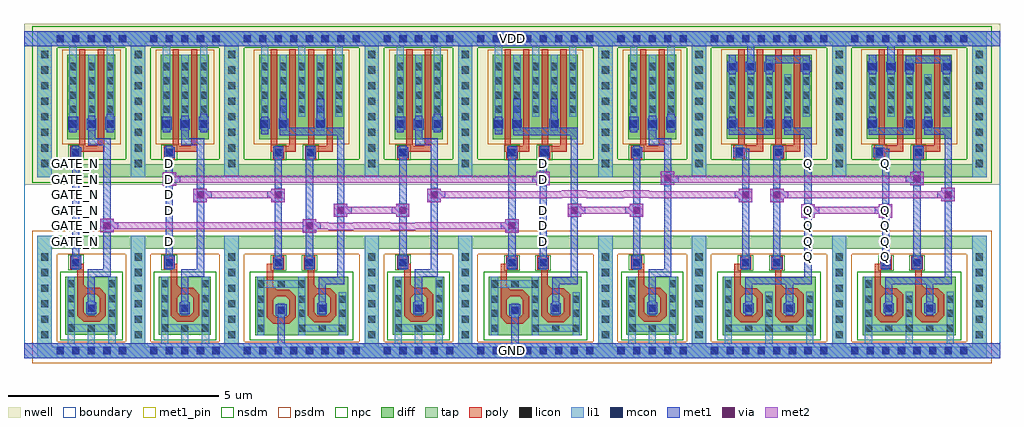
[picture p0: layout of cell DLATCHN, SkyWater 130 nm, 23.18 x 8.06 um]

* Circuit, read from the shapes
.subckt DLATCHN D GATE_N GND Q VDD
XM1 GND GATE_N n1 GND sky130_fd_pr__nfet_01v8 w=2.56 l=0.1478
XM2 GND D n2 GND sky130_fd_pr__nfet_01v8 w=2.56 l=0.1477
XM3 n3 n2 GND GND sky130_fd_pr__nfet_01v8 w=2.6 l=0.1471
XM4 n3 n1 n4 GND sky130_fd_pr__nfet_01v8 w=2.56 l=0.1472
XM5 GND n4 n5 GND sky130_fd_pr__nfet_01v8 w=2.56 l=0.1478
XM6 n6 n1 GND GND sky130_fd_pr__nfet_01v8 w=2.6 l=0.1471
XM7 n6 D n7 GND sky130_fd_pr__nfet_01v8 w=2.56 l=0.1471
XM8 GND n7 n8 GND sky130_fd_pr__nfet_01v8 w=2.56 l=0.1478
XM9 GND n5 Q GND sky130_fd_pr__nfet_01v8 w=2.56 l=0.1455
XM10 GND n9 Q GND sky130_fd_pr__nfet_01v8 w=2.56 l=0.147
XM11 GND Q n9 GND sky130_fd_pr__nfet_01v8 w=2.56 l=0.1455
XM12 GND n8 n9 GND sky130_fd_pr__nfet_01v8 w=2.56 l=0.1471
XM13 n1 GATE_N VDD VDD sky130_fd_pr__pfet_01v8 w=2 l=0.15 m=2
XM14 n2 D VDD VDD sky130_fd_pr__pfet_01v8 w=2 l=0.15 m=2
XM15 n4 n2 VDD VDD sky130_fd_pr__pfet_01v8 w=2 l=0.15 m=2
XM16 n4 n1 VDD VDD sky130_fd_pr__pfet_01v8 w=2 l=0.15 m=2
XM17 n5 n4 VDD VDD sky130_fd_pr__pfet_01v8 w=2 l=0.15 m=2
XM18 n7 n1 VDD VDD sky130_fd_pr__pfet_01v8 w=2 l=0.15 m=2
XM19 n7 D VDD VDD sky130_fd_pr__pfet_01v8 w=2 l=0.15 m=2
XM20 n8 n7 VDD VDD sky130_fd_pr__pfet_01v8 w=2 l=0.15 m=2
XM21 VDD n5 n10 VDD sky130_fd_pr__pfet_01v8 w=2 l=0.15 m=2
XM22 Q n9 n10 VDD sky130_fd_pr__pfet_01v8 w=2 l=0.15 m=2
XM23 VDD Q n11 VDD sky130_fd_pr__pfet_01v8 w=2 l=0.15 m=2
XM24 n9 n8 n11 VDD sky130_fd_pr__pfet_01v8 w=2 l=0.15 m=2
.ends

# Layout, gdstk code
from math import pi, radians
import gdstk
lib = gdstk.Library(unit=1e-6, precision=1e-09)
def R(c, l, rs):  # rectangles x0, y0, x1, y1
    for r in rs: c.add(gdstk.rectangle(r[:2], r[2:], *l))
def A(c, l, x, y, w, h, nx, ny, dx, dy):  # array of equal rectangles
    R(c, l, [(x+i*dx, y+j*dy, x+i*dx+w, y+j*dy+h) for i in range(nx) for j in range(ny)])
def P(c, l, *ps):  # polygons
    for p in ps: c.add(gdstk.Polygon(p, *l))
nwell = (64, 20)
diff = (65, 20)
tap = (65, 44)
poly = (66, 20)
licon = (66, 44)
li1 = (67, 20)
mcon = (67, 44)
met1_pin = (68, 16)
met1 = (68, 20)
via = (68, 44)
met2 = (69, 20)
nsdm = (93, 44)
psdm = (94, 20)
npc = (95, 20)
boundary = (235, 4)

diff_ring_side = lib.new_cell('diff_ring_side')
R(diff_ring_side, nwell, [(-0.435,3.93,0.435,7.75)])
R(diff_ring_side, tap, [(-0.17,-0.17,0.17,2.72), (-0.17,4.11,0.17,7.57)])
A(diff_ring_side, licon, -0.085, 0.285, 0.17, 0.17, 1, 6, 0, 0.37)
A(diff_ring_side, licon, -0.085, 4.355, 0.17, 0.17, 1, 8, 0, 0.37)
R(diff_ring_side, li1, [(-0.17,-0.17,0.17,2.72), (-0.17,4.11,0.17,7.57)])
R(diff_ring_side, met1, [(-0.17,-0.17,0.17,0.17), (-0.17,7.23,0.17,7.57)])
R(diff_ring_side, nsdm, [(-0.295,3.985,0.295,7.695)])
R(diff_ring_side, psdm, [(-0.295,-0.295,0.295,2.845)])

nmos_bottom = lib.new_cell('nmos_bottom')
R(nmos_bottom, diff, [(0,0,1.24,1.38)])
R(nmos_bottom, poly, [(0.43,0.27,0.81,0.42), (0.28,0.42,0.43,0.925), (0.81,0.42,0.96,0.925), (0.43,0.925,0.96,1.075), (0.81,1.075,0.96,1.51)])
P(nmos_bottom, poly, [(0.73,1.075),(0.81,1.075),(0.81,1.155)],
  [(0.28,0.925),(0.43,0.925),(0.43,1.075)],
  [(0.43,0.845),(0.43,0.925),(0.51,0.925)],
  [(0.73,0.925),(0.81,0.925),(0.81,0.845)],
  [(0.43,0.5),(0.43,0.42),(0.51,0.42)],
  [(0.73,0.42),(0.81,0.42),(0.81,0.5)],
  [(0.28,0.42),(0.43,0.42),(0.43,0.27)],
  [(0.81,0.27),(0.81,0.42),(0.96,0.42)])
A(nmos_bottom, licon, 0.05, 1.13, 0.17, 0.17, 3, 1, 0.485, 0)
R(nmos_bottom, licon, [(0.05,0.08,0.22,0.25), (1.02,0.08,1.19,0.25), (0.05,0.43,0.22,0.6), (1.02,0.43,1.19,0.6), (0.535,0.505,0.705,0.675), (0.05,0.77,0.22,0.94), (1.02,0.77,1.19,0.94)])
R(nmos_bottom, li1, [(0.05,0,0.22,1.13), (1.02,0,1.19,1.13), (0.535,0.425,0.705,0.755), (0.05,1.13,1.19,1.3), (0.05,1.3,0.22,1.38), (1.02,1.3,1.19,1.38)])
R(nmos_bottom, nsdm, [(-0.125,-0.125,1.365,1.505)])

pmos2 = lib.new_cell('pmos2')
R(pmos2, nwell, [(0.26,-2.18,1.76,0.18)])
R(pmos2, diff, [(0.44,-2,1.58,0)])
R(pmos2, poly, [(0.72,-2.305,1.31,-2.155), (0.72,-2.155,0.87,0.13), (1.16,-2.155,1.31,0.13)])
A(pmos2, licon, 0.49, -1.38, 0.17, 0.17, 3, 4, 0.44, 0.34)
R(pmos2, li1, [(0.49,-1.465,0.66,0.21), (0.93,-1.465,1.1,0), (1.37,-1.465,1.54,0.21)])
R(pmos2, psdm, [(0.315,-2.125,1.705,0.125)])

poly_li1_contact = lib.new_cell('poly_li1_contact')
R(poly_li1_contact, poly, [(-0.16,-0.14,0.17,0.13)])
R(poly_li1_contact, licon, [(-0.08,-0.09,0.09,0.08)])
R(poly_li1_contact, li1, [(-0.16,-0.09,0.17,0.08)])
R(poly_li1_contact, npc, [(-0.18,-0.19,0.19,0.18)])

nmos_top_trim1 = lib.new_cell('nmos_top_trim1')
R(nmos_top_trim1, diff, [(0,0,1.24,1.38)])
R(nmos_top_trim1, poly, [(0.43,0.31,0.81,0.46), (0.28,0.46,0.43,0.965), (0.81,0.46,0.96,0.965), (0.43,0.965,0.96,1.115), (0.81,1.115,0.96,1.545)])
P(nmos_top_trim1, poly, [(0.73,1.115),(0.81,1.115),(0.81,1.195)],
  [(0.28,0.965),(0.43,0.965),(0.43,1.115)],
  [(0.43,0.885),(0.43,0.965),(0.51,0.965)],
  [(0.73,0.965),(0.81,0.965),(0.81,0.885)],
  [(0.43,0.54),(0.43,0.46),(0.51,0.46)],
  [(0.73,0.46),(0.81,0.46),(0.81,0.54)],
  [(0.28,0.46),(0.43,0.46),(0.43,0.31)],
  [(0.81,0.31),(0.81,0.46),(0.96,0.46)])
A(nmos_top_trim1, licon, 0.05, 0.08, 0.17, 0.17, 3, 1, 0.485, 0)
R(nmos_top_trim1, licon, [(0.05,0.43,0.22,0.6), (1.02,0.43,1.19,0.6), (0.535,0.55,0.705,0.72), (0.05,0.77,0.22,0.94), (1.02,0.77,1.19,0.94), (1.02,1.13,1.19,1.3)])
R(nmos_top_trim1, li1, [(0.05,0,0.22,0.08), (1.02,0,1.19,0.08), (0.05,0.08,1.19,0.25), (0.05,0.25,0.22,1.02), (1.02,0.25,1.19,1.38), (0.535,0.47,0.705,0.805)])
R(nmos_top_trim1, nsdm, [(-0.125,-0.125,1.365,1.505)])

nand2x1_pcell = lib.new_cell('nand2x1_pcell')
R(nand2x1_pcell, nwell, [(0.435,3.93,2.895,7.75)])
R(nand2x1_pcell, diff, [(1.115,5.265,1.345,5.5), (1.995,5.265,2.225,5.5), (0.705,5.295,0.875,5.465)])
R(nand2x1_pcell, tap, [(0.17,-0.17,3.16,-0.15), (0.155,-0.15,3.175,0.085), (0.155,2.4,0.17,2.41), (3.16,2.4,3.175,2.41), (0.155,2.41,3.175,2.71), (0.17,2.71,3.16,2.72), (0.17,4.11,3.16,4.42), (0.17,7.315,3.16,7.57)])
R(nand2x1_pcell, poly, [(0.84,1.875,0.99,2.065), (1.81,1.91,1.96,1.915)])
A(nand2x1_pcell, licon, 0.285, -0.085, 0.17, 0.17, 8, 2, 0.37, 7.4)
R(nand2x1_pcell, licon, [(0.705,5.295,0.875,5.465), (1.145,5.295,1.315,5.465), (2.025,5.295,2.195,5.465)])
R(nand2x1_pcell, li1, [(0.165,-0.17,3.295,0.17), (1.095,0.87,1.265,1.04), (2.065,0.915,2.235,1.085), (1.025,1.995,1.195,2.165), (1.765,1.995,1.935,2.165), (1.025,4.615,1.195,4.785), (1.795,4.615,1.965,4.785), (0.705,5.215,0.875,5.61), (1.145,5.215,1.315,5.61), (2.025,5.215,2.195,5.61), (-0.17,7.23,3.17,7.57)])
A(nand2x1_pcell, mcon, 0.285, -0.085, 0.17, 0.17, 8, 2, 0.37, 7.4)
R(nand2x1_pcell, mcon, [(1.095,0.87,1.265,1.04), (2.065,0.915,2.235,1.085), (1.025,1.995,1.195,2.165), (1.765,1.995,1.935,2.165), (1.025,4.615,1.195,4.785), (1.795,4.615,1.965,4.785), (0.705,5.295,0.875,5.465), (1.145,5.295,1.315,5.465), (2.025,5.295,2.195,5.465)])
R(nand2x1_pcell, met1, [(-0.17,-0.17,3.5,0.17), (1.095,0.17,1.265,0.825), (1.045,0.825,1.31,1.1), (2.035,0.855,2.265,1.12), (2.065,1.12,2.235,1.57), (2.065,1.57,2.675,1.74), (2.505,1.74,2.675,5.115), (0.99,1.935,1.23,2.205), (1.735,1.935,1.97,2.205), (1.025,2.205,1.195,4.56), (1.765,2.205,1.935,4.555), (1.765,4.555,1.97,4.58), (0.995,4.56,1.23,4.845), (1.765,4.58,1.995,4.845), (1.145,5.115,2.675,5.265), (0.705,5.135,0.875,5.265), (0.675,5.265,0.905,5.5), (1.115,5.265,2.675,5.285), (1.115,5.285,1.345,5.5), (1.995,5.285,2.225,5.5), (0.705,5.5,0.875,5.555), (1.145,5.5,1.315,5.98), (2.025,5.5,2.195,5.98), (-0.17,7.23,3.5,7.57)])
R(nand2x1_pcell, nsdm, [(0.045,3.985,3.285,4.545), (0.045,7.19,3.285,7.695)])
R(nand2x1_pcell, psdm, [(0.045,-0.295,3.285,-0.275), (0.03,-0.275,3.3,0.21), (0.03,2.275,0.295,2.285), (3.035,2.275,3.3,2.285), (0.03,2.285,3.3,2.835), (0.045,2.835,3.285,2.845), (0.99,5.14,1.47,5.17), (1.87,5.14,2.35,5.625), (0.58,5.17,1.47,5.59), (0.99,5.59,1.47,5.625)])
nand2x1_pcell.add(gdstk.Reference(diff_ring_side, (0,0)))
nand2x1_pcell.add(gdstk.Reference(nmos_bottom, (1.8,0.365), rotation=pi, x_reflection=True))
nand2x1_pcell.add(gdstk.Reference(pmos2, (0.215,7.02)))
nand2x1_pcell.add(gdstk.Reference(poly_li1_contact, (1.115,4.705), rotation=3*pi/2))
nand2x1_pcell.add(gdstk.Reference(poly_li1_contact, (1.115,2.085), rotation=3*pi/2))
nand2x1_pcell.add(gdstk.Reference(nmos_top_trim1, (2.77,0.365), rotation=pi, x_reflection=True))
nand2x1_pcell.add(gdstk.Reference(pmos2, (1.095,7.02)))
nand2x1_pcell.add(gdstk.Reference(poly_li1_contact, (1.845,2.075), rotation=pi/2))
nand2x1_pcell.add(gdstk.Reference(poly_li1_contact, (1.885,4.705), rotation=3*pi/2))
nand2x1_pcell.add(gdstk.Reference(diff_ring_side, (3.33,0)))

li1_m1_contact = lib.new_cell('li1_M1_contact')
R(li1_m1_contact, li1, [(-0.085,-0.165,0.085,0.165)])
R(li1_m1_contact, mcon, [(-0.085,-0.085,0.085,0.085)])
R(li1_m1_contact, met1, [(-0.115,-0.115,0.115,-0.085), (-0.265,-0.085,0.145,0.085), (-0.115,0.085,0.115,0.115)])

nmos_top = lib.new_cell('nmos_top')
R(nmos_top, diff, [(0,0,1.23,1.38)])
R(nmos_top, poly, [(0.42,0.31,0.8,0.46), (0.27,0.46,0.42,0.965), (0.8,0.46,0.95,0.965), (0.42,0.965,0.95,1.115), (0.8,1.115,0.95,1.54)])
P(nmos_top, poly, [(0.72,1.115),(0.8,1.115),(0.8,1.195)],
  [(0.27,0.965),(0.42,0.965),(0.42,1.115)],
  [(0.42,0.885),(0.42,0.965),(0.5,0.965)],
  [(0.72,0.965),(0.8,0.965),(0.8,0.885)],
  [(0.42,0.54),(0.42,0.46),(0.5,0.46)],
  [(0.72,0.46),(0.8,0.46),(0.8,0.54)],
  [(0.27,0.46),(0.42,0.46),(0.42,0.31)],
  [(0.8,0.31),(0.8,0.46),(0.95,0.46)])
R(nmos_top, licon, [(0.04,0.08,0.21,0.25), (0.53,0.08,0.7,0.25), (1.01,0.08,1.18,0.25), (0.04,0.43,0.21,0.6), (1.01,0.43,1.18,0.6), (0.53,0.55,0.7,0.72), (0.04,0.77,0.21,0.94), (1.01,0.77,1.18,0.94), (0.04,1.13,0.21,1.3), (1.01,1.13,1.18,1.3)])
R(nmos_top, li1, [(0.04,0,0.21,0.08), (1.01,0,1.18,0.08), (0.04,0.08,1.18,0.25), (0.04,0.25,0.21,1.38), (1.01,0.25,1.18,1.38), (0.53,0.47,0.7,0.805)])
R(nmos_top, nsdm, [(-0.125,-0.125,1.355,1.505)])

invx1_pcell = lib.new_cell('invx1_pcell')
R(invx1_pcell, nwell, [(-0.435,3.93,2.655,7.75)])
A(invx1_pcell, diff, 0.59, 5.295, 0.17, 0.17, 3, 1, 0.44, 0)
R(invx1_pcell, tap, [(0.17,-0.17,2.05,0.085), (0.17,2.41,2.05,2.72), (0.17,4.11,2.05,4.42), (0.17,7.315,2.05,7.57)])
R(invx1_pcell, poly, [(0.775,1.905,0.925,2.065)])
A(invx1_pcell, licon, 0.285, -0.085, 0.17, 0.17, 5, 2, 0.37, 7.4)
A(invx1_pcell, licon, 0.59, 5.295, 0.17, 0.17, 3, 1, 0.44, 0)
A(invx1_pcell, li1, 0.59, 5.215, 0.17, 0.37, 3, 1, 0.44, 0)
R(invx1_pcell, li1, [(-0.17,-0.17,2.33,0.17), (0.545,0.17,0.715,0.42), (1.025,0.17,1.195,0.45), (1.515,0.17,1.685,0.45), (1.025,0.92,1.195,1.09), (0.655,2,0.825,2.17), (0.655,4.615,0.825,4.785), (-0.17,7.23,2.39,7.57)])
A(invx1_pcell, mcon, 0.285, -0.085, 0.17, 0.17, 5, 2, 0.37, 7.4)
A(invx1_pcell, mcon, 0.59, 5.295, 0.17, 0.17, 3, 1, 0.44, 0)
R(invx1_pcell, mcon, [(1.025,0.92,1.195,1.09), (0.655,2,0.825,2.17), (0.655,4.615,0.825,4.785)])
R(invx1_pcell, met1, [(-0.17,-0.17,2.39,0.17), (0.99,0.86,1.23,1.15), (1.025,1.15,1.195,1.755), (1.025,1.755,1.565,1.925), (1.395,1.925,1.565,4.875), (0.615,1.94,0.865,2.25), (0.655,2.25,0.825,4.58), (0.62,4.58,0.87,4.83), (0.655,4.83,0.825,4.865), (1.03,4.875,1.565,5.045), (1.03,5.045,1.2,5.24), (0.59,5.185,0.76,5.24), (1.47,5.185,1.64,5.24), (0.56,5.24,0.795,5.555), (1,5.24,1.23,5.505), (1.44,5.24,1.675,5.555), (1.03,5.505,1.2,5.575), (1.47,5.555,1.64,5.62), (-0.17,7.23,2.39,7.57)])
R(invx1_pcell, nsdm, [(0.045,3.985,2.175,4.545), (0.045,7.19,2.175,7.695)])
R(invx1_pcell, psdm, [(0.045,-0.295,2.175,0.21), (0.045,2.285,2.175,2.845), (0.465,5.17,1.765,5.59)])
invx1_pcell.add(gdstk.Reference(poly_li1_contact, (0.735,2.08), rotation=pi/2))
invx1_pcell.add(gdstk.Reference(poly_li1_contact, (0.745,4.705), rotation=3*pi/2))
invx1_pcell.add(gdstk.Reference(pmos2, (0.1,7.02)))
invx1_pcell.add(gdstk.Reference(nmos_top, (1.725,0.37), rotation=pi, x_reflection=True))
invx1_pcell.add(gdstk.Reference(diff_ring_side, (0,0)))
invx1_pcell.add(gdstk.Reference(diff_ring_side, (2.22,0)))

and2x1_pcell = lib.new_cell('and2x1_pcell')
R(and2x1_pcell, met1, [(2.43,3.17,2.75,3.49), (3.905,3.17,4.225,3.49)])
R(and2x1_pcell, via, [(2.515,3.255,2.665,3.405), (3.99,3.255,4.14,3.405)])
R(and2x1_pcell, met2, [(2.43,3.17,2.75,3.245), (3.905,3.17,4.225,3.245), (2.43,3.245,4.225,3.415), (2.43,3.415,2.75,3.49), (3.905,3.415,4.225,3.49)])
and2x1_pcell.add(gdstk.Reference(nand2x1_pcell, (0,0)))
and2x1_pcell.add(gdstk.Reference(li1_m1_contact, (4.07,3.33)))
and2x1_pcell.add(gdstk.Reference(li1_m1_contact, (2.59,3.33), rotation=pi))
and2x1_pcell.add(gdstk.Reference(invx1_pcell, (3.33,0)))

pmos2_1 = lib.new_cell('pmos2_1')
R(pmos2_1, nwell, [(0.26,-2.175,1.76,0.185)])
R(pmos2_1, diff, [(0.44,-1.995,1.58,0.005)])
R(pmos2_1, poly, [(0.72,-2.3,1.31,-2.15), (0.72,-2.15,0.87,0.135), (1.16,-2.15,1.31,0.135)])
A(pmos2_1, licon, 0.49, -1.385, 0.17, 0.17, 3, 3, 0.44, 0.34)
A(pmos2_1, li1, 0.49, -1.465, 0.17, 1.01, 3, 1, 0.44, 0)
R(pmos2_1, psdm, [(0.315,-2.12,1.705,0.13)])

nmos_top_trim2 = lib.new_cell('nmos_top_trim2')
R(nmos_top_trim2, diff, [(0,0,1.24,1.38)])
R(nmos_top_trim2, poly, [(0.43,0.31,0.81,0.46), (0.28,0.46,0.43,0.89), (0.81,0.46,0.96,0.89), (0.28,0.89,0.435,0.965), (0.805,0.89,0.96,0.965), (0.43,0.965,0.96,1.115), (0.81,1.115,0.96,1.545)])
P(nmos_top_trim2, poly, [(0.73,1.115),(0.81,1.115),(0.81,1.195)],
  [(0.28,0.965),(0.43,0.965),(0.43,1.115)],
  [(0.435,0.89),(0.435,0.965),(0.51,0.965)],
  [(0.73,0.965),(0.805,0.965),(0.805,0.89)],
  [(0.43,0.54),(0.43,0.46),(0.51,0.46)],
  [(0.73,0.46),(0.81,0.46),(0.81,0.54)],
  [(0.28,0.46),(0.43,0.46),(0.43,0.31)],
  [(0.81,0.31),(0.81,0.46),(0.96,0.46)])
A(nmos_top_trim2, licon, 0.05, 0.08, 0.17, 0.17, 3, 1, 0.485, 0)
R(nmos_top_trim2, licon, [(0.05,0.43,0.22,0.6), (1.02,0.43,1.19,0.6), (0.535,0.55,0.705,0.72), (0.05,0.77,0.22,0.94), (1.02,0.77,1.19,0.94)])
R(nmos_top_trim2, li1, [(0.05,0,0.22,0.08), (1.02,0,1.19,0.08), (0.05,0.08,1.19,0.25), (0.05,0.25,0.22,1.025), (1.02,0.25,1.19,1.025), (0.535,0.47,0.705,0.805)])
R(nmos_top_trim2, nsdm, [(-0.125,-0.125,1.365,1.505)])

nor2x1_pcell = lib.new_cell('nor2x1_pcell')
R(nor2x1_pcell, nwell, [(0.435,3.93,2.895,7.75)])
A(nor2x1_pcell, diff, 0.705, 6.655, 0.17, 0.17, 3, 1, 0.44, 0)
R(nor2x1_pcell, diff, [(0.705,5.215,0.875,5.465), (1.585,5.215,1.755,5.25), (2.025,5.215,2.195,5.25), (1.585,5.295,1.755,5.465), (2.025,5.295,2.195,5.465), (2.465,6.655,2.635,6.825)])
R(nor2x1_pcell, tap, [(0.17,-0.17,3.16,0.085), (0.17,2.41,3.16,2.72), (0.17,4.11,3.16,4.42), (0.17,7.315,3.16,7.57)])
R(nor2x1_pcell, poly, [(0.84,1.875,0.99,2.065), (1.81,1.91,1.96,1.915)])
A(nor2x1_pcell, licon, 0.285, -0.085, 0.17, 0.17, 8, 2, 0.37, 7.4)
A(nor2x1_pcell, licon, 0.705, 6.655, 0.17, 0.17, 3, 1, 0.44, 0)
R(nor2x1_pcell, licon, [(0.705,5.295,0.875,5.465), (1.585,5.295,1.755,5.465), (2.025,5.295,2.195,5.465), (2.465,6.655,2.635,6.825)])
R(nor2x1_pcell, li1, [(0.165,-0.17,3.285,0.17), (0.61,0.17,0.78,0.785), (1.58,0.17,1.75,0.445), (2.55,0.17,2.72,0.445), (1.095,0.915,1.265,1.085), (2.065,0.915,2.235,1.085), (1.025,1.995,1.195,2.165), (1.765,1.995,1.935,2.165), (0.87,4.62,1.04,4.79), (1.8,4.62,1.97,4.79), (0.705,5.215,0.875,5.975), (1.585,5.215,1.755,5.975), (2.025,5.215,2.195,5.975), (1.145,6.145,1.315,7.025), (1.585,6.145,1.755,6.905), (2.465,6.145,2.635,6.905), (0.705,6.56,0.875,7.025), (-0.17,7.23,3.335,7.57)])
A(nor2x1_pcell, mcon, 0.285, -0.085, 0.17, 0.17, 8, 2, 0.37, 7.4)
A(nor2x1_pcell, mcon, 0.705, 6.655, 0.17, 0.17, 3, 1, 0.44, 0)
R(nor2x1_pcell, mcon, [(1.095,0.915,1.265,1.085), (2.065,0.915,2.235,1.085), (1.025,1.995,1.195,2.165), (1.765,1.995,1.935,2.165), (0.87,4.62,1.04,4.79), (1.8,4.62,1.97,4.79), (0.705,5.295,0.875,5.465), (1.585,5.295,1.755,5.465), (2.025,5.295,2.195,5.465), (2.465,6.655,2.635,6.825)])
R(nor2x1_pcell, met1, [(0.17,-0.17,3.16,0.17), (1.095,0.835,1.265,0.885), (2.065,0.835,2.235,0.88), (2.015,0.88,2.28,1.12), (1.055,0.885,1.3,1.125), (2.065,1.12,2.235,1.57), (1.095,1.125,1.265,1.57), (1.095,1.57,2.675,1.74), (2.505,1.74,2.675,5.125), (0.985,1.935,1.23,2.215), (1.72,1.935,1.975,2.215), (1.025,2.215,1.195,4.585), (1.765,2.215,1.935,4.56), (1.765,4.56,2.005,4.855), (0.81,4.585,1.195,4.79), (0.81,4.79,1.085,4.82), (0.705,5.125,1.755,5.265), (2.025,5.125,2.675,5.26), (1.985,5.26,2.675,5.295), (0.675,5.265,1.79,5.295), (0.675,5.295,0.905,5.5), (1.55,5.295,1.79,5.495), (1.985,5.295,2.225,5.495), (1.585,5.495,1.755,5.555), (2.025,5.495,2.195,5.555), (0.705,5.5,0.875,5.555), (0.705,6.565,0.875,6.625), (1.145,6.565,1.315,6.625), (1.585,6.565,1.755,6.615), (2.465,6.565,2.635,6.62), (1.555,6.615,1.785,6.825), (2.42,6.62,2.665,6.825), (0.675,6.625,0.905,6.86), (1.115,6.625,1.345,6.855), (1.555,6.825,2.665,6.855), (1.145,6.855,1.315,7.23), (1.585,6.855,2.665,6.875), (0.705,6.86,0.875,7.025), (1.585,6.875,2.635,6.995), (0.17,7.23,3.16,7.57)])
R(nor2x1_pcell, nsdm, [(0.045,3.985,3.285,4.545), (0.045,7.19,3.285,7.695)])
R(nor2x1_pcell, psdm, [(0.045,-0.295,3.285,0.21), (0.045,2.285,3.285,2.845), (0.58,5.09,1,5.59), (1.46,5.09,2.32,5.59), (0.58,6.53,1.88,6.95), (2.34,6.53,2.76,6.95)])
nor2x1_pcell.add(gdstk.Reference(diff_ring_side, (0,0)))
nor2x1_pcell.add(gdstk.Reference(nmos_top_trim1, (1.8,0.365), rotation=pi, x_reflection=True))
nor2x1_pcell.add(gdstk.Reference(pmos2_1, (0.215,7.02)))
nor2x1_pcell.add(gdstk.Reference(poly_li1_contact, (0.96,4.71), rotation=3*pi/2))
nor2x1_pcell.add(gdstk.Reference(poly_li1_contact, (1.115,2.085), rotation=3*pi/2))
nor2x1_pcell.add(gdstk.Reference(nmos_top_trim2, (2.77,0.365), rotation=pi, x_reflection=True))
nor2x1_pcell.add(gdstk.Reference(pmos2_1, (1.095,7.02)))
nor2x1_pcell.add(gdstk.Reference(poly_li1_contact, (1.845,2.075), rotation=pi/2))
nor2x1_pcell.add(gdstk.Reference(poly_li1_contact, (1.89,4.71), rotation=3*pi/2))
nor2x1_pcell.add(gdstk.Reference(diff_ring_side, (3.33,0)))

dlatchn = lib.new_cell('DLATCHN')
R(dlatchn, nwell, [(0,4.11,23.18,7.94)])
R(dlatchn, tap, [(0.32,0,22.86,0.05), (0.32,7.75,22.86,7.76)])
R(dlatchn, li1, [(0,0,23.18,0.35), (0,7.41,23.18,7.76)])
A(dlatchn, met1_pin, 18.535, 2.315, 0.17, 0.17, 1, 4, 0, 0.37)
A(dlatchn, met1_pin, 20.385, 2.315, 0.17, 0.17, 1, 4, 0, 0.37)
A(dlatchn, met1_pin, 1.145, 2.685, 0.17, 0.17, 1, 6, 0, 0.37)
A(dlatchn, met1_pin, 12.245, 2.685, 0.17, 0.17, 1, 3, 0, 0.37)
A(dlatchn, met1_pin, 3.365, 3.425, 0.17, 0.17, 1, 4, 0, 0.37)
R(dlatchn, met1_pin, [(0,0,23.18,0.35), (3.365,2.685,3.535,2.855), (12.245,4.165,12.415,4.335), (12.245,4.535,12.415,4.705), (18.535,4.535,18.705,4.705), (20.385,4.535,20.555,4.705), (0,7.41,23.18,7.76)])
A(dlatchn, met1, 18.535, 2.315, 0.17, 0.17, 1, 3, 0, 0.37)
A(dlatchn, met1, 20.385, 2.315, 0.17, 0.17, 1, 3, 0, 0.37)
A(dlatchn, met1, 1.145, 2.685, 0.17, 0.17, 1, 6, 0, 0.37)
A(dlatchn, met1, 12.245, 2.685, 0.17, 0.17, 1, 3, 0, 0.37)
R(dlatchn, met1, [(0,0,23.18,0.35), (3.365,2.685,3.535,2.855), (6.62,2.975,6.94,3.295), (11.425,2.98,11.745,3.3), (1.81,2.985,2.13,3.305), (18.455,3.335,18.775,3.655), (20.305,3.335,20.625,3.655), (3.365,3.425,3.535,3.595), (4.025,3.705,4.345,4.025), (5.875,3.705,6.195,4.025), (9.58,3.705,9.9,4.025), (16.975,3.705,17.295,4.025), (17.72,3.705,18.04,4.025), (21.785,3.72,22.105,4.04), (3.365,3.795,3.535,3.965), (3.29,4.09,3.61,4.41), (12.165,4.105,12.485,4.425), (21.045,4.105,21.365,4.425), (15.125,4.12,15.445,4.44), (3.365,4.535,3.535,4.705), (12.245,4.535,12.415,4.705), (18.535,4.535,18.705,4.705), (20.385,4.535,20.555,4.705), (0,7.41,23.18,7.76)])
R(dlatchn, via, [(6.705,3.06,6.855,3.21), (11.51,3.065,11.66,3.215), (1.895,3.07,2.045,3.22), (18.54,3.42,18.69,3.57), (20.39,3.42,20.54,3.57), (4.11,3.79,4.26,3.94), (5.96,3.79,6.11,3.94), (9.665,3.79,9.815,3.94), (17.06,3.79,17.21,3.94), (17.805,3.79,17.955,3.94), (21.87,3.805,22.02,3.955), (3.375,4.175,3.525,4.325), (12.25,4.19,12.4,4.34), (21.13,4.19,21.28,4.34), (15.21,4.205,15.36,4.355)])
R(dlatchn, met2, [(6.62,2.975,6.94,3.055), (11.425,2.98,11.745,3.055), (1.81,2.985,2.13,3.055), (7.22,3.04,7.82,3.055), (8.695,3.04,9.295,3.055), (1.81,3.055,11.745,3.21), (1.81,3.21,7.22,3.225), (7.82,3.21,8.695,3.225), (9.295,3.21,11.745,3.225), (1.81,3.225,2.13,3.305), (6.62,3.225,6.94,3.295), (11.425,3.225,11.745,3.3), (18.455,3.335,18.775,3.425), (20.305,3.335,20.625,3.425), (18.455,3.425,20.625,3.595), (18.455,3.595,18.775,3.655), (20.305,3.595,20.625,3.655), (4.025,3.705,4.345,3.795), (5.875,3.705,6.195,3.795), (9.58,3.705,9.9,3.795), (16.975,3.705,17.295,3.795), (17.72,3.705,18.04,3.795), (21.785,3.72,22.105,3.795), (4.025,3.795,6.195,3.965), (9.58,3.795,12.77,3.81), (13.37,3.795,14.245,3.81), (14.845,3.795,17.295,3.81), (17.72,3.795,22.105,3.965), (9.58,3.81,17.295,3.965), (4.025,3.965,4.345,4.025), (5.875,3.965,6.195,4.025), (9.58,3.965,9.9,4.025), (12.77,3.965,13.37,3.98), (14.245,3.965,14.845,3.98), (16.975,3.965,17.295,4.025), (17.72,3.965,18.04,4.025), (21.785,3.965,22.105,4.04), (3.29,4.09,3.61,4.165), (12.165,4.105,12.485,4.165), (21.045,4.105,21.365,4.165), (15.125,4.12,15.445,4.165), (3.29,4.165,12.485,4.335), (15.125,4.165,21.365,4.335), (3.29,4.335,3.61,4.41), (12.165,4.335,12.485,4.425), (15.125,4.335,15.445,4.44), (21.045,4.335,21.365,4.425)])
R(dlatchn, nsdm, [(0.195,7.625,22.985,7.885)])
R(dlatchn, psdm, [(0.195,-0.125,22.985,0.175)])
R(dlatchn, boundary, [(0,0,23.18,7.76)])
dlatchn.add(gdstk.Reference(and2x1_pcell, (4.93,0.18)))
dlatchn.add(gdstk.Reference(invx1_pcell, (2.71,0.18)))
dlatchn.add(gdstk.Reference(invx1_pcell, (0.49,0.18)))
dlatchn.add(gdstk.Reference(li1_m1_contact, (3.45,4.25), rotation=pi))
dlatchn.add(gdstk.Reference(li1_m1_contact, (4.19,3.88), rotation=pi))
dlatchn.add(gdstk.Reference(li1_m1_contact, (6.04,3.88)))
dlatchn.add(gdstk.Reference(li1_m1_contact, (1.97,3.14), rotation=pi))
dlatchn.add(gdstk.Reference(and2x1_pcell, (10.48,0.18)))
dlatchn.add(gdstk.Reference(li1_m1_contact, (6.78,3.14), rotation=pi))
dlatchn.add(gdstk.Reference(li1_m1_contact, (11.59,3.14)))
dlatchn.add(gdstk.Reference(li1_m1_contact, (12.33,4.25)))
dlatchn.add(gdstk.Reference(li1_m1_contact, (9.74,3.88), rotation=pi))
dlatchn.add(gdstk.Reference(li1_m1_contact, (17.14,3.88)))
dlatchn.add(gdstk.Reference(li1_m1_contact, (15.29,4.25), rotation=pi))
dlatchn.add(gdstk.Reference(li1_m1_contact, (17.88,3.88), rotation=pi))
dlatchn.add(gdstk.Reference(li1_m1_contact, (18.62,3.51), rotation=pi))
dlatchn.add(gdstk.Reference(nor2x1_pcell, (16.03,0.18)))
dlatchn.add(gdstk.Reference(nor2x1_pcell, (19.36,0.18)))
dlatchn.add(gdstk.Reference(li1_m1_contact, (21.21,4.25)))
dlatchn.add(gdstk.Reference(li1_m1_contact, (21.95,3.88)))
dlatchn.add(gdstk.Reference(li1_m1_contact, (20.47,3.51)))
dlatchn.add(gdstk.Label('Q', (20.47,4.62), layer=68, texttype=5))
dlatchn.add(gdstk.Label('Q', (20.47,3.51), layer=68, texttype=5))
dlatchn.add(gdstk.Label('Q', (20.47,3.14), layer=68, texttype=5))
dlatchn.add(gdstk.Label('Q', (20.47,2.77), layer=68, texttype=5))
dlatchn.add(gdstk.Label('Q', (20.47,2.4), layer=68, texttype=5))
dlatchn.add(gdstk.Label('Q', (18.62,4.62), layer=68, texttype=5))
dlatchn.add(gdstk.Label('Q', (18.62,2.4), layer=68, texttype=5))
dlatchn.add(gdstk.Label('Q', (18.62,2.77), layer=68, texttype=5))
dlatchn.add(gdstk.Label('Q', (18.62,3.14), layer=68, texttype=5))
dlatchn.add(gdstk.Label('Q', (18.62,3.51), layer=68, texttype=5))
dlatchn.add(gdstk.Label('D', (12.33,2.77), layer=68, texttype=5))
dlatchn.add(gdstk.Label('D', (12.33,3.14), layer=68, texttype=5))
dlatchn.add(gdstk.Label('D', (12.33,4.62), layer=68, texttype=5))
dlatchn.add(gdstk.Label('D', (12.33,4.25), layer=68, texttype=5))
dlatchn.add(gdstk.Label('D', (12.33,3.51), layer=68, texttype=5))
dlatchn.add(gdstk.Label('D', (3.45,2.77), layer=68, texttype=5))
dlatchn.add(gdstk.Label('D', (3.45,3.51), layer=68, texttype=5))
dlatchn.add(gdstk.Label('D', (3.45,3.88), layer=68, texttype=5))
dlatchn.add(gdstk.Label('D', (3.45,4.62), layer=68, texttype=5))
dlatchn.add(gdstk.Label('D', (3.45,4.25), layer=68, texttype=5))
dlatchn.add(gdstk.Label('GATE_N', (1.23,4.62), layer=68, texttype=5))
dlatchn.add(gdstk.Label('GATE_N', (1.23,4.25), layer=68, texttype=5))
dlatchn.add(gdstk.Label('GATE_N', (1.23,3.88), layer=68, texttype=5))
dlatchn.add(gdstk.Label('GATE_N', (1.23,3.51), layer=68, texttype=5))
dlatchn.add(gdstk.Label('GATE_N', (1.23,2.77), layer=68, texttype=5))
dlatchn.add(gdstk.Label('GATE_N', (1.23,3.14), layer=68, texttype=5))
dlatchn.add(gdstk.Label('VDD', (11.59,7.585), layer=68, texttype=5))
dlatchn.add(gdstk.Label('GND', (11.59,0.175), layer=68, texttype=5))

lib.write_gds('DLATCHN.gds')
